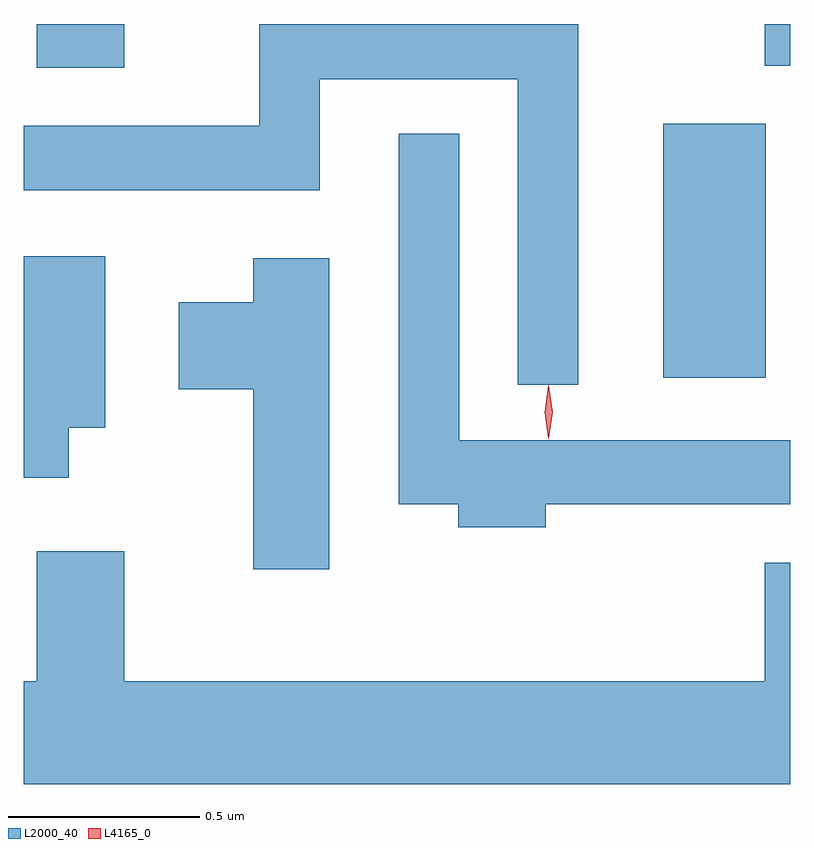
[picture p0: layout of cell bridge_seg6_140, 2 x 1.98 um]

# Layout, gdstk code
import gdstk
lib = gdstk.Library(unit=1e-6, precision=1e-09)
def R(c, l, rs):  # rectangles x0, y0, x1, y1
    for r in rs: c.add(gdstk.rectangle(r[:2], r[2:], *l))
def P(c, l, *ps):  # polygons
    for p in ps: c.add(gdstk.Polygon(p, *l))
L2000_40 = (2000, 40)
L4165_0 = (4165, 0)

bridge_seg6_140 = lib.new_cell('bridge_seg6_140')
R(bridge_seg6_140, L2000_40, [(1165.416,1633.236,1165.684,1633.899), (1163.781,1634.046,1164.009,1634.16), (1165.681,1634.051,1165.747,1634.16)])
P(bridge_seg6_140, L2000_40, [(1165.194,1634.16),(1164.361,1634.16),(1164.361,1633.894),(1163.747,1633.894),(1163.747,1633.726),(1164.519,1633.726),(1164.519,1634.016),(1165.036,1634.016),(1165.036,1633.218),(1165.194,1633.218)],
  [(1165.109,1632.906),(1165.747,1632.906),(1165.747,1633.074),(1164.884,1633.074),(1164.884,1633.873),(1164.726,1633.873),(1164.726,1632.906),(1164.881,1632.906),(1164.881,1632.846),(1165.109,1632.846)],
  [(1163.864,1633.106),(1163.959,1633.106),(1163.959,1633.554),(1163.747,1633.554),(1163.747,1632.976),(1163.864,1632.976)],
  [(1164.544,1633.549),(1164.346,1633.549),(1164.346,1633.434),(1164.151,1633.434),(1164.151,1633.206),(1164.346,1633.206),(1164.346,1632.736),(1164.544,1632.736)],
  [(1165.747,1632.754),(1165.681,1632.754),(1165.681,1632.444),(1164.009,1632.444),(1164.009,1632.784),(1163.781,1632.784),(1163.781,1632.444),(1163.747,1632.444),(1163.747,1632.176),(1165.747,1632.176)])
P(bridge_seg6_140, L4165_0, [(1165.117,1633.077),(1165.116,1633.078),(1165.107,1633.147),(1165.116,1633.216),(1165.117,1633.216),(1165.117,1633.216),(1165.127,1633.147),(1165.117,1633.078)],
  [(1165.116,1633.079),(1165.116,1633.08),(1165.106,1633.146),(1165.116,1633.212),(1165.116,1633.213),(1165.116,1633.212),(1165.126,1633.146),(1165.116,1633.08)])

lib.write_gds('bridge_seg6_140.gds')
